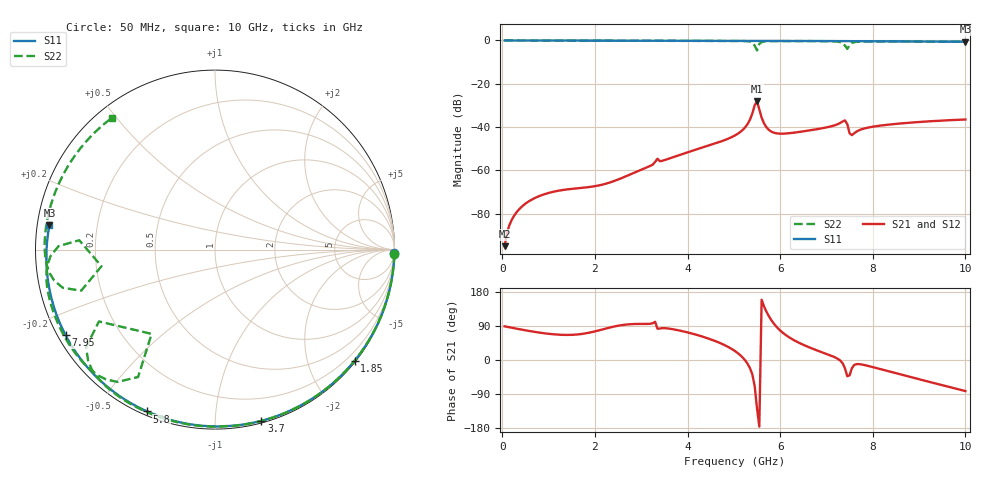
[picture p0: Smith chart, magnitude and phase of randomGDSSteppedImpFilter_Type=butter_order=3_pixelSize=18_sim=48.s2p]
! freq	dB(S11)	phase(S11)	dB(S12)	phase(S12)
!  dB(S21)	phase(S21)	dB(S22)	phase(S22)
!S-par simulation data
#  GHz  S  DB  R 50
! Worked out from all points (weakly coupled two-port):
!   200 points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, 50 MHz to 10 GHz, reference 50 ohm
!   highest |S21| = -28.15 dB at 5.5 GHz (marker M1); lowest = -95.1 dB at 50 MHz (marker M2)
!   lowest |S11| = -0.6 dB at 10 GHz (marker M3), VSWR 28.51, Z = 1.76 + j3.68 ohm
!   |S11| at or under -10 dB: nowhere
!   |S22| runs from -4.6 to 0.0 dB; largest |S21 - S12| = 0
!   S11 on the Smith chart (normalised r, x): 50 MHz: open; 1.85 GHz: 0.03, -2.86; 3.7 GHz: 0.02, -1.31; 5.8 GHz: 0.02, -0.67; 7.95 GHz: 0.02, -0.27; 10 GHz: 0.04, +0.07
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0.05  -0.00 -1.1  -95.07 88.9  -95.07 88.9  -0.00 -1.4
0.3  -0.01 -6.4  -79.63 82.9  -79.63 82.9  -0.01 -8.3
0.9  -0.02 -19.0  -71.11 70.6  -71.11 70.6  -0.03 -24.6
1.75  -0.05 -36.5  -68.05 69.3  -68.05 69.3  -0.06 -47.1
1.85  -0.05 -38.6  -67.81 71.4  -67.81 71.4  -0.06 -49.7
3.4  -0.09 -69.1  -55.79 83.0  -55.79 83.0  -0.12 -87.9
3.7  -0.10 -74.8  -53.86 80.9  -53.86 80.9  -0.12 -95.0
5.05  -0.15 -99.6  -43.57 21.4  -43.57 21.4  -0.21 -126.9
5.4  -0.18 -105.9  -33.71 -38.5  -33.71 -38.5  -0.90 -142.8
5.45  -0.20 -106.8  -29.92 -68.7  -29.92 -68.7  -2.38 -148.2
5.5  -0.22 -107.5  -28.15 -127.4  -28.15 -127.4  -4.62 -126.9
5.55  -0.20 -108.2  -31.94 -175.8  -31.94 -175.8  -1.63 -121.1
5.65  -0.19 -110.1  -38.25 142.0  -38.25 142.0  -0.50 -130.0
5.8  -0.20 -112.7  -42.00 107.0  -42.00 107.0  -0.31 -136.4
6.7  -0.25 -128.4  -41.34 29.8  -41.34 29.8  -0.31 -158.8
7.3  -0.30 -138.8  -38.08 -1.7  -38.08 -1.7  -0.76 -177.8
7.4  -0.31 -140.5  -36.94 -22.3  -36.94 -22.3  -2.41 176.1
7.45  -0.31 -141.4  -38.68 -42.9  -38.68 -42.9  -3.89 -171.7
7.55  -0.32 -143.1  -43.75 -21.3  -43.75 -21.3  -1.16 -165.9
7.95  -0.36 -150.1  -40.04 -17.2  -40.04 -17.2  -0.45 178.5
8.35  -0.40 -157.3  -38.88 -30.0  -38.88 -30.0  -0.46 168.6
10  -0.61 171.6  -36.53 -82.0  -36.53 -82.0  -0.61 127.9
